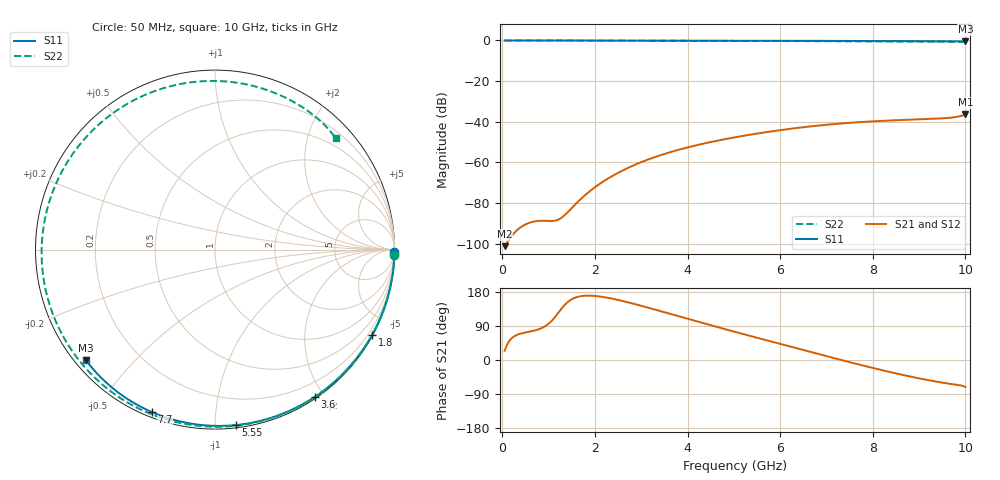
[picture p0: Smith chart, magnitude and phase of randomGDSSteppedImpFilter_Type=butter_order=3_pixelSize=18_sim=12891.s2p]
! freq	dB(S11)	phase(S11)	dB(S12)	phase(S12)
!  dB(S21)	phase(S21)	dB(S22)	phase(S22)
!S-par simulation data
#  GHz  S  DB  R 50
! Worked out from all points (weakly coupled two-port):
!   200 points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, 50 MHz to 10 GHz, reference 50 ohm
!   highest |S21| = -36.38 dB at 10 GHz (marker M1); lowest = -101.2 dB at 50 MHz (marker M2)
!   lowest |S11| = -0.5 dB at 10 GHz (marker M3), VSWR 36.54, Z = 1.56 - j18.5 ohm
!   |S11| at or under -10 dB: nowhere
!   |S22| runs from -0.8 to 0.0 dB; largest |S21 - S12| = 0
!   S11 on the Smith chart (normalised r, x): 50 MHz: open; 1.8 GHz: 0.03, -3.92; 3.6 GHz: 0.02, -1.89; 5.55 GHz: 0.02, -1.12; 7.7 GHz: 0.02, -0.68; 10 GHz: 0.03, -0.37
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0.05  -0.00 -0.8  -101.17 24.3  -101.17 24.3  -0.00 -1.6
0.8  -0.01 -12.8  -88.71 81.7  -88.71 81.7  -0.02 -25.5
1.6  -0.03 -25.5  -80.07 165.6  -80.07 165.6  -0.06 -50.3
1.75  -0.04 -27.8  -76.83 169.3  -76.83 169.3  -0.07 -54.8
1.8  -0.04 -28.6  -75.83 169.8  -75.83 169.8  -0.07 -56.3
2.15  -0.04 -34.0  -69.81 166.8  -69.81 166.8  -0.08 -66.8
2.5  -0.05 -39.4  -65.10 158.5  -65.10 158.5  -0.10 -77.1
2.9  -0.06 -45.4  -60.80 146.3  -60.80 146.3  -0.11 -88.7
3.4  -0.07 -52.9  -56.55 129.4  -56.55 129.4  -0.13 -102.9
3.6  -0.08 -55.8  -55.12 122.5  -55.12 122.5  -0.14 -108.5
4.3  -0.09 -66.0  -50.96 98.4  -50.96 98.4  -0.18 -127.9
5.05  -0.12 -76.5  -47.52 73.4  -47.52 73.4  -0.22 -148.6
5.55  -0.14 -83.3  -45.61 57.1  -45.61 57.1  -0.25 -162.6
6.15  -0.16 -91.3  -43.66 37.7  -43.66 37.7  -0.30 -179.9
6.7  -0.19 -98.5  -42.16 19.8  -42.16 19.8  -0.35 163.5
7.2  -0.22 -104.9  -41.06 3.8  -41.06 3.8  -0.39 147.6
7.7  -0.25 -111.2  -40.19 -11.9  -40.19 -11.9  -0.44 130.8
8.35  -0.31 -119.3  -39.38 -31.2  -39.38 -31.2  -0.50 107.5
8.8  -0.35 -124.8  -38.96 -43.4  -38.96 -43.4  -0.54 90.4
9.2  -0.38 -129.7  -38.63 -53.2  -38.63 -53.2  -0.58 74.7
9.75  -0.44 -136.4  -37.82 -64.3  -37.82 -64.3  -0.65 52.6
10  -0.48 -139.4  -36.38 -70.9  -36.38 -70.9  -0.77 42.6
